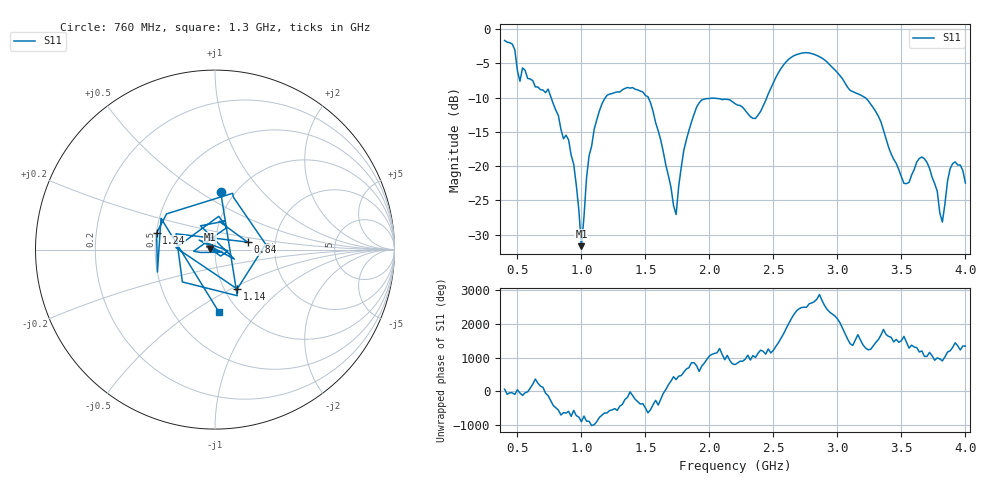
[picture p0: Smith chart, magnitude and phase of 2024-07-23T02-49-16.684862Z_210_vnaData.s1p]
!Created with skrf (http://scikit-rf.org).
# Hz S RI R 50.0
!freq ReS11 ImS11
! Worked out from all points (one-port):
!   181 points, 400 MHz to 4 GHz, reference 50 ohm
!   lowest |S11| = -31.7 dB at 1 GHz (marker M1), VSWR 1.05, Z = 47.5 + j0.378 ohm
!   |S11| at or under -10 dB: 763.2 MHz to 1.188 GHz (424.5 MHz wide, 43.5 % of centre); 1.523 GHz to 2.449 GHz (926.1 MHz wide, 46.6 % of centre); 3.217 GHz to end of sweep
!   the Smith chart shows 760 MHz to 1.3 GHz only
!   S11 on the Smith chart (normalised r, x): 760 MHz: 0.86, +0.62; 840 MHz: 1.44, +0.13; 1.14 GHz: 1.15, -0.54; 1.24 GHz: 0.50, +0.11; 1.3 GHz: 0.82, -0.64
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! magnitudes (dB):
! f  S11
! 400 MHz  -1.7
! 480 MHz  -3.1
! 520 MHz  -7.6
! 760 MHz  -9.8
! 840 MHz  -14.6
! 860 MHz  -16.0
! 940 MHz  -19.7
! 1 GHz  -31.7
! 1.06 GHz  -18.5
! 1.14 GHz  -12.0
! 1.24 GHz  -9.4
! 1.3 GHz  -9.2
! 1.52 GHz  -9.9
! 1.74 GHz  -27.0
! 1.76 GHz  -22.9
! 1.82 GHz  -16.1
! 1.92 GHz  -10.8
! 2.2 GHz  -10.9
! 2.36 GHz  -13.0
! 2.66 GHz  -3.9
! 2.88 GHz  -4.2
! 3.1 GHz  -9.0
! 3.3 GHz  -12.1
! 3.56 GHz  -22.4
! 3.68 GHz  -18.9
! 3.82 GHz  -28.1
! 3.9 GHz  -19.6
! 4 GHz  -22.5
